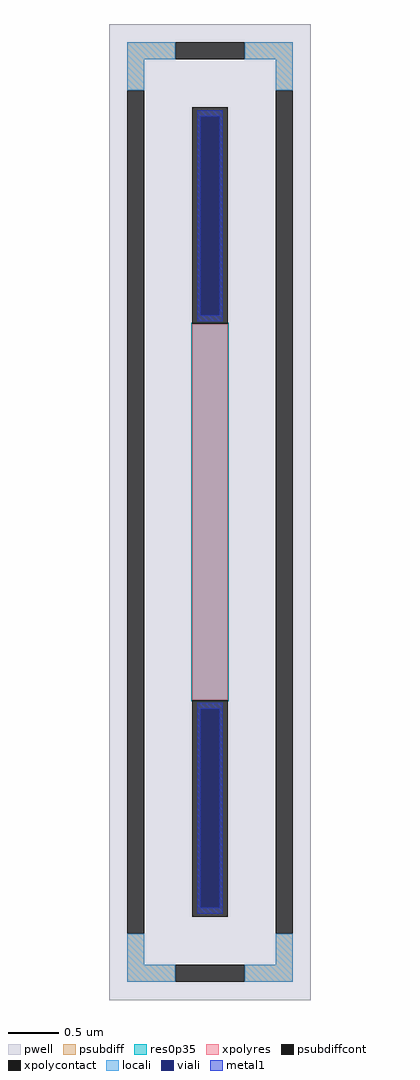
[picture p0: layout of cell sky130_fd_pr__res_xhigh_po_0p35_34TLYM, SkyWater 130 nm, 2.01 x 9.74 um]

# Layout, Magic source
magic
tech sky130A
magscale 1 2
<< pwell >>
rect -201 -974 201 974
<< psubdiff >>
rect -165 904 -69 938
rect 69 904 165 938
rect -165 842 -131 904
rect 131 842 165 904
rect -165 -904 -131 -842
rect 131 -904 165 -842
rect -165 -938 -69 -904
rect 69 -938 165 -904
<< psubdiffcont >>
rect -69 904 69 938
rect -165 -842 -131 842
rect 131 -842 165 842
rect -69 -938 69 -904
<< xpolycontact >>
rect -35 376 35 808
rect -35 -808 35 -376
<< xpolyres >>
rect -35 -376 35 376
<< locali >>
rect -165 904 -69 938
rect 69 904 165 938
rect -165 842 -131 904
rect 131 842 165 904
rect -165 -904 -131 -842
rect 131 -904 165 -842
rect -165 -938 -69 -904
rect 69 -938 165 -904
<< viali >>
rect -19 393 19 790
rect -19 -790 19 -393
<< metal1 >>
rect -25 790 25 802
rect -25 393 -19 790
rect 19 393 25 790
rect -25 381 25 393
rect -25 -393 25 -381
rect -25 -790 -19 -393
rect 19 -790 25 -393
rect -25 -802 25 -790
<< res0p35 >>
rect -37 -378 37 378
<< properties >>
string gencell sky130_fd_pr__res_xhigh_po_0p35
string FIXED_BBOX -148 -921 148 921
string parameters w 0.350 l 3.763 m 1 nx 1 wmin 0.350 lmin 0.50 rho 2000 val 22.188k dummy 0 dw 0.0 term 120 sterm 0.0 caplen 0 wmax 0.350 guard 1 glc 1 grc 1 gtc 1 gbc 1 compatible {sky130_fd_pr__res_xhigh_po_0p35  sky130_fd_pr__res_xhigh_po_0p69 sky130_fd_pr__res_xhigh_po_1p41  sky130_fd_pr__res_xhigh_po_2p85 sky130_fd_pr__res_xhigh_po_5p73} full_metal 1 vias 1 viagb 0 viagt 0 viagl 0 viagr 0
string library sky130
<< end >>
